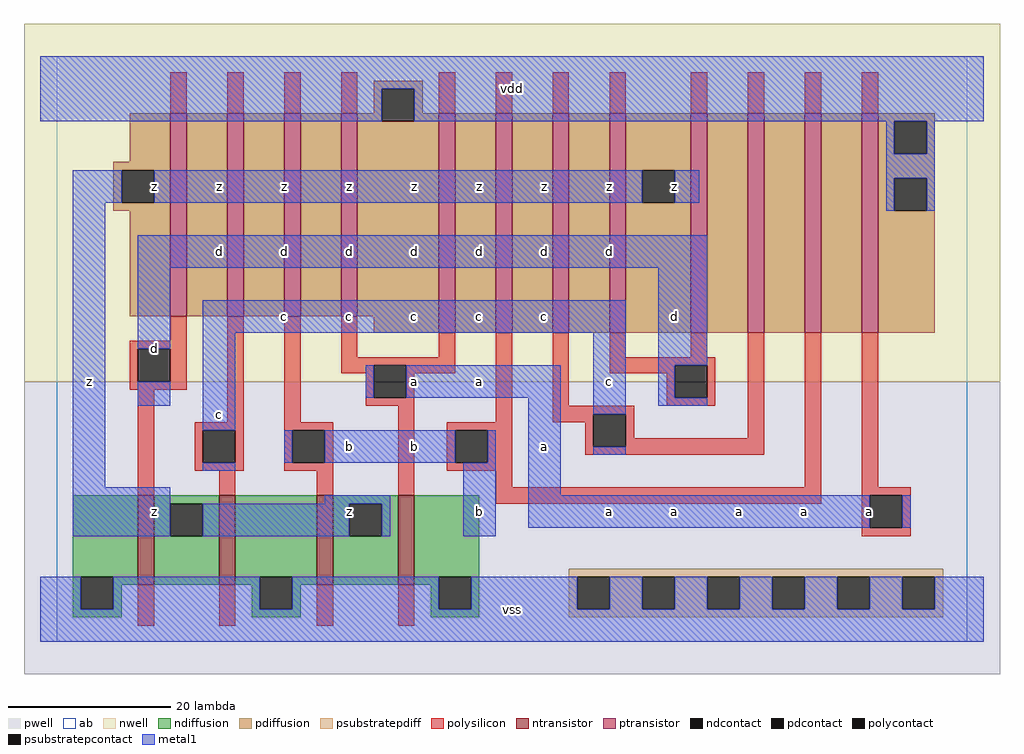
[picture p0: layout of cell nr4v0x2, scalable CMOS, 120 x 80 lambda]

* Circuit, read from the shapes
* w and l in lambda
.subckt nr4v0x2 a b c d vdd vss z
M1 z d vss vss nfet w=11 l=2
M2 vss c z vss nfet w=11 l=2
M3 z b vss vss nfet w=11 l=2
M4 vss a z vss nfet w=11 l=2
M5 n1 d z n2 pfet w=25 l=2
M6 n3 c n1 n2 pfet w=25 l=2
M7 n4 b n3 n2 pfet w=25 l=2
M8 vdd a n4 n2 pfet w=25 l=2
M9 n5 a vdd n2 pfet w=27 l=2
M10 n6 b n5 n2 pfet w=27 l=2
M11 n7 c n6 n2 pfet w=27 l=2
M12 z d n7 n2 pfet w=27 l=2
M13 n8 d z n2 pfet w=27 l=2
M14 n9 c n8 n2 pfet w=27 l=2
M15 n10 b n9 n2 pfet w=27 l=2
M16 vdd a n10 n2 pfet w=27 l=2
.ends

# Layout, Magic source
magic
tech scmos
<< ab >>
rect 0 0 112 72
<< pwell >>
rect -4 -4 116 32
<< nwell >>
rect -4 32 116 76
<< polysilicon >>
rect 14 65 16 70
rect 21 65 23 70
rect 28 65 30 70
rect 35 65 37 70
rect 47 65 49 70
rect 54 65 56 70
rect 61 65 63 70
rect 68 65 70 70
rect 78 65 80 70
rect 85 65 87 70
rect 92 65 94 70
rect 99 65 101 70
rect 14 37 16 40
rect 9 36 16 37
rect 9 32 10 36
rect 14 32 16 36
rect 9 31 16 32
rect 10 18 12 31
rect 21 27 23 40
rect 17 26 23 27
rect 17 22 18 26
rect 22 22 23 26
rect 17 21 23 22
rect 28 27 30 40
rect 35 35 37 40
rect 47 35 49 38
rect 35 34 49 35
rect 35 33 39 34
rect 38 30 39 33
rect 43 33 49 34
rect 43 30 44 33
rect 38 29 44 30
rect 28 26 34 27
rect 28 22 29 26
rect 33 22 34 26
rect 28 21 34 22
rect 20 18 22 21
rect 32 18 34 21
rect 42 18 44 29
rect 54 27 56 38
rect 61 29 63 38
rect 68 35 70 38
rect 78 35 80 38
rect 68 34 81 35
rect 68 33 76 34
rect 75 30 76 33
rect 80 30 81 34
rect 75 29 81 30
rect 61 28 71 29
rect 61 27 66 28
rect 48 26 56 27
rect 48 22 49 26
rect 53 22 56 26
rect 65 24 66 27
rect 70 25 71 28
rect 85 25 87 38
rect 70 24 87 25
rect 65 23 87 24
rect 48 21 56 22
rect 54 19 56 21
rect 92 19 94 38
rect 10 2 12 7
rect 20 2 22 7
rect 54 17 94 19
rect 99 19 101 38
rect 99 18 105 19
rect 99 14 100 18
rect 104 14 105 18
rect 99 13 105 14
rect 32 2 34 7
rect 42 2 44 7
<< ndiffusion >>
rect 2 8 10 18
rect 2 4 3 8
rect 7 7 10 8
rect 12 17 20 18
rect 12 13 14 17
rect 18 13 20 17
rect 12 7 20 13
rect 22 8 32 18
rect 22 7 25 8
rect 7 4 8 7
rect 2 3 8 4
rect 24 4 25 7
rect 29 7 32 8
rect 34 17 42 18
rect 34 13 36 17
rect 40 13 42 17
rect 34 7 42 13
rect 44 8 52 18
rect 44 7 47 8
rect 29 4 30 7
rect 24 3 30 4
rect 46 4 47 7
rect 51 4 52 8
rect 46 3 52 4
<< pdiffusion >>
rect 39 68 45 69
rect 39 65 40 68
rect 9 59 14 65
rect 7 58 14 59
rect 7 54 8 58
rect 12 54 14 58
rect 7 53 14 54
rect 9 40 14 53
rect 16 40 21 65
rect 23 40 28 65
rect 30 40 35 65
rect 37 64 40 65
rect 44 65 45 68
rect 44 64 47 65
rect 37 40 47 64
rect 39 38 47 40
rect 49 38 54 65
rect 56 38 61 65
rect 63 38 68 65
rect 70 58 78 65
rect 70 54 72 58
rect 76 54 78 58
rect 70 38 78 54
rect 80 38 85 65
rect 87 38 92 65
rect 94 38 99 65
rect 101 64 108 65
rect 101 60 103 64
rect 107 60 108 64
rect 101 57 108 60
rect 101 53 103 57
rect 107 53 108 57
rect 101 38 108 53
<< metal1 >>
rect -2 68 114 72
rect -2 64 40 68
rect 44 64 114 68
rect 102 60 103 64
rect 107 60 108 64
rect 2 54 8 58
rect 12 54 72 58
rect 76 54 79 58
rect 102 57 108 60
rect 2 19 6 54
rect 102 53 103 57
rect 107 53 108 57
rect 10 46 80 50
rect 10 36 14 46
rect 10 29 14 32
rect 18 38 70 42
rect 18 26 22 38
rect 38 30 39 34
rect 43 30 62 34
rect 28 22 29 26
rect 33 22 49 26
rect 53 22 54 26
rect 18 21 22 22
rect 2 13 14 19
rect 33 17 41 18
rect 18 13 36 17
rect 40 13 41 17
rect 50 13 54 22
rect 58 18 62 30
rect 66 28 70 38
rect 74 34 80 46
rect 74 30 76 34
rect 74 29 80 30
rect 66 23 70 24
rect 58 14 100 18
rect 104 14 105 18
rect -2 4 3 8
rect 7 4 25 8
rect 29 4 47 8
rect 51 4 64 8
rect 68 4 72 8
rect 76 4 80 8
rect 84 4 88 8
rect 92 4 96 8
rect 100 4 104 8
rect 108 4 114 8
rect -2 0 114 4
<< ntransistor >>
rect 10 7 12 18
rect 20 7 22 18
rect 32 7 34 18
rect 42 7 44 18
<< ptransistor >>
rect 14 40 16 65
rect 21 40 23 65
rect 28 40 30 65
rect 35 40 37 65
rect 47 38 49 65
rect 54 38 56 65
rect 61 38 63 65
rect 68 38 70 65
rect 78 38 80 65
rect 85 38 87 65
rect 92 38 94 65
rect 99 38 101 65
<< polycontact >>
rect 10 32 14 36
rect 18 22 22 26
rect 39 30 43 34
rect 29 22 33 26
rect 76 30 80 34
rect 49 22 53 26
rect 66 24 70 28
rect 100 14 104 18
<< ndcontact >>
rect 3 4 7 8
rect 14 13 18 17
rect 25 4 29 8
rect 36 13 40 17
rect 47 4 51 8
<< pdcontact >>
rect 8 54 12 58
rect 40 64 44 68
rect 72 54 76 58
rect 103 60 107 64
rect 103 53 107 57
<< psubstratepcontact >>
rect 64 4 68 8
rect 72 4 76 8
rect 80 4 84 8
rect 88 4 92 8
rect 96 4 100 8
rect 104 4 108 8
<< psubstratepdiff >>
rect 63 8 109 9
rect 63 4 64 8
rect 68 4 72 8
rect 76 4 80 8
rect 84 4 88 8
rect 92 4 96 8
rect 100 4 104 8
rect 108 4 109 8
rect 63 3 109 4
<< labels >>
rlabel metal1 12 16 12 16 6 z
rlabel metal1 4 32 4 32 6 z
rlabel metal1 12 36 12 36 6 d
rlabel metal1 12 56 12 56 6 z
rlabel metal1 36 16 36 16 6 z
rlabel metal1 36 24 36 24 6 b
rlabel metal1 20 28 20 28 6 c
rlabel metal1 28 40 28 40 6 c
rlabel metal1 36 40 36 40 6 c
rlabel metal1 20 48 20 48 6 d
rlabel metal1 28 48 28 48 6 d
rlabel metal1 36 48 36 48 6 d
rlabel metal1 28 56 28 56 6 z
rlabel metal1 36 56 36 56 6 z
rlabel metal1 20 56 20 56 6 z
rlabel metal1 56 4 56 4 6 vss
rlabel metal1 52 16 52 16 6 b
rlabel metal1 44 24 44 24 6 b
rlabel metal1 60 24 60 24 6 a
rlabel metal1 52 32 52 32 6 a
rlabel metal1 44 32 44 32 6 a
rlabel metal1 44 40 44 40 6 c
rlabel metal1 52 40 52 40 6 c
rlabel metal1 60 40 60 40 6 c
rlabel metal1 44 48 44 48 6 d
rlabel metal1 52 48 52 48 6 d
rlabel metal1 60 48 60 48 6 d
rlabel metal1 52 56 52 56 6 z
rlabel metal1 60 56 60 56 6 z
rlabel metal1 44 56 44 56 6 z
rlabel metal1 56 68 56 68 6 vdd
rlabel metal1 76 16 76 16 6 a
rlabel metal1 84 16 84 16 6 a
rlabel metal1 68 16 68 16 6 a
rlabel metal1 68 32 68 32 6 c
rlabel metal1 76 40 76 40 6 d
rlabel metal1 68 48 68 48 6 d
rlabel metal1 76 56 76 56 6 z
rlabel metal1 68 56 68 56 6 z
rlabel metal1 100 16 100 16 6 a
rlabel metal1 92 16 92 16 6 a
<< end >>
